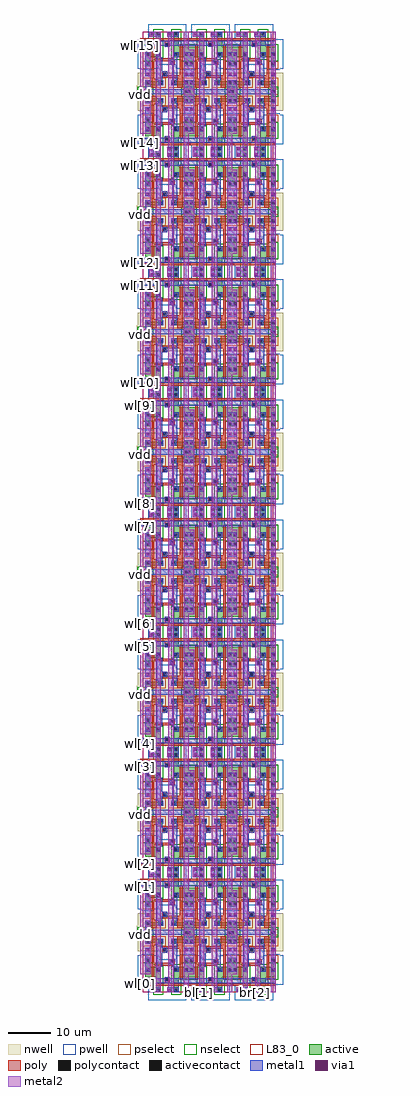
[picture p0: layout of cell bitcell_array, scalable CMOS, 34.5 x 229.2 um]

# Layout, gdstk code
import gdstk
lib = gdstk.Library(unit=1e-6, precision=1e-09)
def R(c, l, rs):  # rectangles x0, y0, x1, y1
    for r in rs: c.add(gdstk.rectangle(r[:2], r[2:], *l))
def A(c, l, x, y, w, h, nx, ny, dx, dy):  # array of equal rectangles
    R(c, l, [(x+i*dx, y+j*dy, x+i*dx+w, y+j*dy+h) for i in range(nx) for j in range(ny)])
pwell = (41, 0)
nwell = (42, 0)
active = (43, 0)
pselect = (44, 0)
nselect = (45, 0)
poly = (46, 0)
polycontact = (47, 0)
activecontact = (48, 0)
metal1 = (49, 0)
via1 = (50, 0)
metal2 = (51, 0)
L83_0 = (83, 0)

cell_6t = lib.new_cell('cell_6t')
R(cell_6t, pwell, [(1.2,-1.8,10.2,1.8), (-1.2,1.8,12.6,7.8), (-1.2,7.8,3.6,8.7), (7.8,7.8,12.6,8.7), (-0.3,8.7,2.7,9), (8.7,8.7,11.7,9)])
R(cell_6t, nwell, [(-1.2,9.6,12.6,12.6), (-1.5,12.6,12.6,14.4), (-1.5,14.4,3.6,15.3), (7.8,14.4,12.6,15.3), (-1.5,15.3,2.7,15.6), (8.7,15.3,11.7,15.6)])
A(cell_6t, active, 0.6, 11.4, 1.2, 0.3, 4, 1, 3, 0)
R(cell_6t, active, [(3,0,4.2,3.6), (7.2,0,8.4,3.6), (0.6,3.6,4.2,6), (7.2,3.6,10.8,6), (0.6,6,1.8,8.1), (9.6,6,10.8,8.1), (0.6,11.7,4.8,12.6), (6.6,11.7,10.8,12.6), (0.6,12.6,1.8,13.5), (9.6,12.6,10.8,14.7), (-0.6,13.5,1.8,14.7)])
A(cell_6t, pselect, 0, 10.8, 2.4, 0.3, 4, 1, 3, 0)
R(cell_6t, pselect, [(0,6.9,2.4,8.7), (9,6.9,11.4,8.7), (0,11.1,5.4,13.2), (6,11.1,11.4,13.2), (0,13.2,2.4,13.5), (9,13.2,11.4,13.5)])
R(cell_6t, nselect, [(2.4,-0.6,4.8,3), (6.6,-0.6,9,3), (0,3,4.8,6.6), (6.6,3,11.4,6.6), (0,6.6,2.4,6.9), (9,6.6,11.4,6.9), (-1.2,12.9,0,13.5), (-1.2,13.5,2.4,15.3), (9,13.5,11.4,15.3)])
R(cell_6t, poly, [(-0.6,1.5,10.8,2.1), (5.1,2.1,6.3,3.6), (2.1,3,2.7,6.3), (8.7,3,9.3,10.2), (2.1,6.3,7.2,6.6), (2.1,6.6,7.5,6.9), (2.1,6.9,2.7,11.1), (6.3,6.9,7.5,7.8), (4.5,9.3,5.7,10.2), (4.5,10.2,9.3,10.8), (8.1,10.8,9.3,13.2), (2.1,11.1,3.3,13.2)])
R(cell_6t, polycontact, [(5.4,2.7,6,3.3), (6.6,6.9,7.2,7.5), (4.8,9.6,5.4,10.2)])
A(cell_6t, activecontact, 0.9, 11.7, 0.6, 0.6, 4, 1, 3, 0)
R(cell_6t, activecontact, [(3.3,0.3,3.9,0.9), (7.5,0.3,8.1,0.9), (0.9,5.1,1.5,5.7), (3.3,5.1,3.9,5.7), (7.5,5.1,8.1,5.7), (9.9,5.1,10.5,5.7), (0.9,7.2,1.5,7.8), (9.9,7.2,10.5,7.8), (0.3,13.8,0.9,14.4), (9.9,13.8,10.5,14.4)])
R(cell_6t, metal1, [(1.5,0,4.2,1.2), (5.7,0,8.4,1.2), (-0.6,2.1,10.8,3.3), (-0.6,2.1,10.8,3.3), (5.1,3.3,6.3,3.6), (0.6,4.8,1.8,10.5), (3,4.8,4.2,6), (7.2,4.8,8.4,6), (9.6,4.8,10.8,10.5), (3.3,6,4.5,9.3), (6.9,6,8.1,6.6), (6.3,6.6,8.1,7.8), (6.9,7.8,8.1,11.4), (3.3,9.3,5.7,10.5), (3.3,10.5,4.5,11.4), (0.6,11.4,1.8,13.5), (3.6,11.4,4.8,12.6), (6.6,11.4,7.8,12.6), (9.6,11.4,10.8,13.5), (-0.6,13.5,10.8,14.7), (-0.6,13.5,10.8,14.7)])
R(cell_6t, via1, [(1.8,0.3,2.4,0.9), (6,0.3,6.6,0.9), (0.9,9.6,1.5,10.2), (9.9,9.6,10.5,10.2)])
R(cell_6t, metal2, [(1.5,0,4.2,1.2), (3,0,4.2,13.5), (3,0,4.2,13.5), (5.7,0,7.2,1.2), (6,0,7.2,14.7), (6,0,7.2,14.7), (9.6,0,10.8,14.7), (9.6,0,10.8,14.7), (-0.6,4.2,1.8,14.7), (-0.6,4.2,1.8,14.7)])
R(cell_6t, L83_0, [(0,0,10.2,14.1)])
cell_6t.add(gdstk.Label('vdd', (9.6,13.5), layer=49, texttype=0))
cell_6t.add(gdstk.Label('WL', (0,2.1), layer=49, texttype=0))
cell_6t.add(gdstk.Label('BR', (6,1.2), layer=51, texttype=0))
cell_6t.add(gdstk.Label('BL', (3,1.2), layer=51, texttype=0))
cell_6t.add(gdstk.Label('gnd', (9.6,9.3), layer=51, texttype=0))
cell_6t.add(gdstk.Label('gnd', (0.6,9.3), layer=51, texttype=0))
cell_6t.add(gdstk.Label('BL', (3,0), layer=51, texttype=0))
cell_6t.add(gdstk.Label('WL', (-0.6,2.1), layer=49, texttype=0))
cell_6t.add(gdstk.Label('gnd', (9.6,0), layer=51, texttype=0))
cell_6t.add(gdstk.Label('gnd', (-0.6,4.2), layer=51, texttype=0))
cell_6t.add(gdstk.Label('vdd', (-0.6,13.5), layer=49, texttype=0))
cell_6t.add(gdstk.Label('BR', (6,0), layer=51, texttype=0))

bitcell_array = lib.new_cell('bitcell_array')
A(bitcell_array, metal1, -0.6, 13.5, 31.8, 0.9, 1, 8, 0, 28.2)
R(bitcell_array, metal1, [(-0.6,2.1,31.2,3.3), (-0.6,24.9,31.2,26.1), (-0.6,30.3,31.2,31.5), (-0.6,53.1,31.2,54.3), (-0.6,58.5,31.2,59.7), (-0.6,81.3,31.2,82.5), (-0.6,86.7,31.2,87.9), (-0.6,109.5,31.2,110.7), (-0.6,114.9,31.2,116.1), (-0.6,137.7,31.2,138.9), (-0.6,143.1,31.2,144.3), (-0.6,165.9,31.2,167.1), (-0.6,171.3,31.2,172.5), (-0.6,194.1,31.2,195.3), (-0.6,199.5,31.2,200.7), (-0.6,222.3,31.2,223.5)])
A(bitcell_array, metal2, 6, 0, 1.2, 225.6, 3, 1, 3.6, 0)
R(bitcell_array, metal2, [(3,0,4.2,225.6), (16.2,0,17.4,225.6), (23.4,0,24.6,225.6), (26.4,0,27.6,225.6), (30,0,31.2,225.6)])
bitcell_array.add(gdstk.Reference(cell_6t, (0,0)))
bitcell_array.add(gdstk.Reference(cell_6t, (0,28.2), x_reflection=True))
bitcell_array.add(gdstk.Reference(cell_6t, (0,28.2)))
bitcell_array.add(gdstk.Reference(cell_6t, (0,56.4), x_reflection=True))
bitcell_array.add(gdstk.Reference(cell_6t, (0,56.4)))
bitcell_array.add(gdstk.Reference(cell_6t, (0,84.6), x_reflection=True))
bitcell_array.add(gdstk.Reference(cell_6t, (0,84.6)))
bitcell_array.add(gdstk.Reference(cell_6t, (0,112.8), x_reflection=True))
bitcell_array.add(gdstk.Reference(cell_6t, (0,112.8)))
bitcell_array.add(gdstk.Reference(cell_6t, (0,141), x_reflection=True))
bitcell_array.add(gdstk.Reference(cell_6t, (0,141)))
bitcell_array.add(gdstk.Reference(cell_6t, (0,169.2), x_reflection=True))
bitcell_array.add(gdstk.Reference(cell_6t, (0,169.2)))
bitcell_array.add(gdstk.Reference(cell_6t, (0,197.4), x_reflection=True))
bitcell_array.add(gdstk.Reference(cell_6t, (0,197.4)))
bitcell_array.add(gdstk.Reference(cell_6t, (0,225.6), x_reflection=True))
bitcell_array.add(gdstk.Reference(cell_6t, (10.2,0)))
bitcell_array.add(gdstk.Reference(cell_6t, (10.2,28.2), x_reflection=True))
bitcell_array.add(gdstk.Reference(cell_6t, (10.2,28.2)))
bitcell_array.add(gdstk.Reference(cell_6t, (10.2,56.4), x_reflection=True))
bitcell_array.add(gdstk.Reference(cell_6t, (10.2,56.4)))
bitcell_array.add(gdstk.Reference(cell_6t, (10.2,84.6), x_reflection=True))
bitcell_array.add(gdstk.Reference(cell_6t, (10.2,84.6)))
bitcell_array.add(gdstk.Reference(cell_6t, (10.2,112.8), x_reflection=True))
bitcell_array.add(gdstk.Reference(cell_6t, (10.2,112.8)))
bitcell_array.add(gdstk.Reference(cell_6t, (10.2,141), x_reflection=True))
bitcell_array.add(gdstk.Reference(cell_6t, (10.2,141)))
bitcell_array.add(gdstk.Reference(cell_6t, (10.2,169.2), x_reflection=True))
bitcell_array.add(gdstk.Reference(cell_6t, (10.2,169.2)))
bitcell_array.add(gdstk.Reference(cell_6t, (10.2,197.4), x_reflection=True))
bitcell_array.add(gdstk.Reference(cell_6t, (10.2,197.4)))
bitcell_array.add(gdstk.Reference(cell_6t, (10.2,225.6), x_reflection=True))
bitcell_array.add(gdstk.Reference(cell_6t, (20.4,0)))
bitcell_array.add(gdstk.Reference(cell_6t, (20.4,28.2), x_reflection=True))
bitcell_array.add(gdstk.Reference(cell_6t, (20.4,28.2)))
bitcell_array.add(gdstk.Reference(cell_6t, (20.4,56.4), x_reflection=True))
bitcell_array.add(gdstk.Reference(cell_6t, (20.4,56.4)))
bitcell_array.add(gdstk.Reference(cell_6t, (20.4,84.6), x_reflection=True))
bitcell_array.add(gdstk.Reference(cell_6t, (20.4,84.6)))
bitcell_array.add(gdstk.Reference(cell_6t, (20.4,112.8), x_reflection=True))
bitcell_array.add(gdstk.Reference(cell_6t, (20.4,112.8)))
bitcell_array.add(gdstk.Reference(cell_6t, (20.4,141), x_reflection=True))
bitcell_array.add(gdstk.Reference(cell_6t, (20.4,141)))
bitcell_array.add(gdstk.Reference(cell_6t, (20.4,169.2), x_reflection=True))
bitcell_array.add(gdstk.Reference(cell_6t, (20.4,169.2)))
bitcell_array.add(gdstk.Reference(cell_6t, (20.4,197.4), x_reflection=True))
bitcell_array.add(gdstk.Reference(cell_6t, (20.4,197.4)))
bitcell_array.add(gdstk.Reference(cell_6t, (20.4,225.6), x_reflection=True))
bitcell_array.add(gdstk.Label('wl[4]', (-0.6,58.5), layer=49, texttype=0))
bitcell_array.add(gdstk.Label('wl[0]', (-0.6,2.1), layer=49, texttype=0))
bitcell_array.add(gdstk.Label('br[2]', (26.4,0), layer=51, texttype=0))
bitcell_array.add(gdstk.Label('wl[2]', (-0.6,30.3), layer=49, texttype=0))
bitcell_array.add(gdstk.Label('br[0]', (6,0), layer=51, texttype=0))
bitcell_array.add(gdstk.Label('bl[1]', (13.2,0), layer=51, texttype=0))
bitcell_array.add(gdstk.Label('wl[15]', (-0.6,222.3), layer=49, texttype=0))
bitcell_array.add(gdstk.Label('wl[8]', (-0.6,114.9), layer=49, texttype=0))
bitcell_array.add(gdstk.Label('wl[6]', (-0.6,86.7), layer=49, texttype=0))
bitcell_array.add(gdstk.Label('wl[13]', (-0.6,194.1), layer=49, texttype=0))
bitcell_array.add(gdstk.Label('wl[11]', (-0.6,165.9), layer=49, texttype=0))
bitcell_array.add(gdstk.Label('wl[3]', (-0.6,53.1), layer=49, texttype=0))
bitcell_array.add(gdstk.Label('wl[5]', (-0.6,81.3), layer=49, texttype=0))
bitcell_array.add(gdstk.Label('wl[1]', (-0.6,24.9), layer=49, texttype=0))
bitcell_array.add(gdstk.Label('br[1]', (16.2,0), layer=51, texttype=0))
bitcell_array.add(gdstk.Label('bl[0]', (3,0), layer=51, texttype=0))
bitcell_array.add(gdstk.Label('wl[14]', (-0.6,199.5), layer=49, texttype=0))
bitcell_array.add(gdstk.Label('bl[2]', (23.4,0), layer=51, texttype=0))
bitcell_array.add(gdstk.Label('wl[10]', (-0.6,143.1), layer=49, texttype=0))
bitcell_array.add(gdstk.Label('wl[9]', (-0.6,137.7), layer=49, texttype=0))
bitcell_array.add(gdstk.Label('vdd', (-0.6,13.5), layer=49, texttype=0))
bitcell_array.add(gdstk.Label('vdd', (-0.6,41.7), layer=49, texttype=0))
bitcell_array.add(gdstk.Label('vdd', (-0.6,69.9), layer=49, texttype=0))
bitcell_array.add(gdstk.Label('vdd', (-0.6,98.1), layer=49, texttype=0))
bitcell_array.add(gdstk.Label('vdd', (-0.6,126.3), layer=49, texttype=0))
bitcell_array.add(gdstk.Label('vdd', (-0.6,154.5), layer=49, texttype=0))
bitcell_array.add(gdstk.Label('vdd', (-0.6,182.7), layer=49, texttype=0))
bitcell_array.add(gdstk.Label('vdd', (-0.6,210.9), layer=49, texttype=0))
bitcell_array.add(gdstk.Label('gnd', (9.6,0), layer=51, texttype=0))
bitcell_array.add(gdstk.Label('gnd', (30,0), layer=51, texttype=0))
bitcell_array.add(gdstk.Label('wl[12]', (-0.6,171.3), layer=49, texttype=0))
bitcell_array.add(gdstk.Label('wl[7]', (-0.6,109.5), layer=49, texttype=0))

lib.write_gds('bitcell_array.gds')
